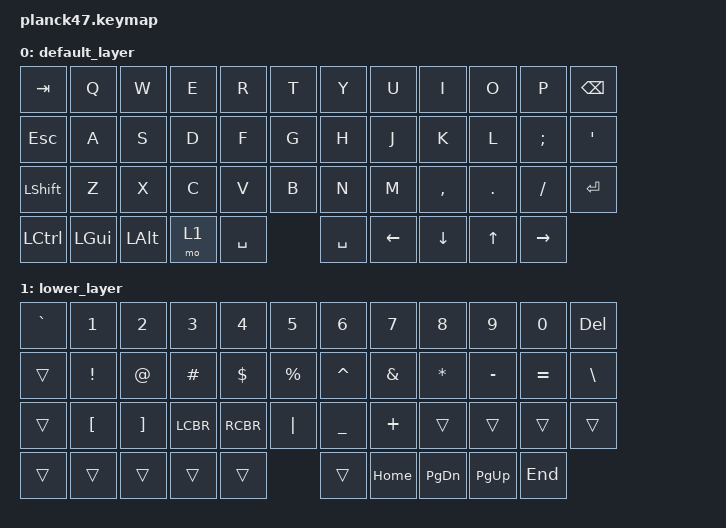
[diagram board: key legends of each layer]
#include <behaviors.dtsi>
#include <dt-bindings/zmk/keys.h>

/ {
    keymap {
        compatible = "zmk,keymap";

        default_layer {
            bindings = <
                &kp TAB    &kp Q    &kp W    &kp E    &kp R    &kp T    &kp Y    &kp U    &kp I     &kp O      &kp P      &kp BSPC
                &kp ESC    &kp A    &kp S    &kp D    &kp F    &kp G    &kp H    &kp J    &kp K     &kp L      &kp SEMI   &kp QUOT
                &kp LSHFT  &kp Z    &kp X    &kp C    &kp V    &kp B    &kp N    &kp M    &kp COMMA &kp DOT    &kp FSLH   &kp RET
                &kp LCTRL  &kp LGUI &kp LALT &mo 1    &kp SPACE &kp SPACE          &kp LEFT &kp DOWN &kp UP     &kp RIGHT
            >;
        };

        lower_layer {
            bindings = <
                &kp GRAVE &kp N1 &kp N2 &kp N3 &kp N4 &kp N5 &kp N6 &kp N7 &kp N8 &kp N9 &kp N0 &kp DEL
                &trans    &kp EXCL &kp AT &kp HASH &kp DLLR &kp PRCNT &kp CARET &kp AMPS &kp STAR &kp MINUS &kp EQUAL &kp BSLH
                &trans    &kp LBKT &kp RBKT &kp LCBR &kp RCBR &kp PIPE &kp UNDER &kp PLUS &trans &trans &trans &trans
                &trans    &trans &trans &trans &trans &trans          &kp HOME &kp PG_DN &kp PG_UP &kp END
            >;
        };
    };
};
